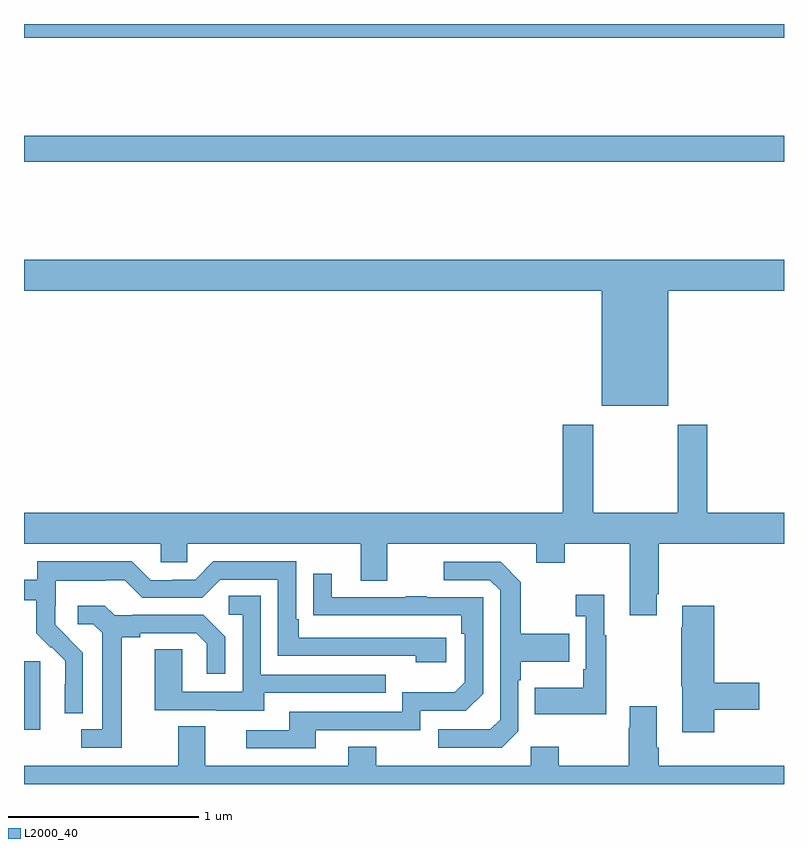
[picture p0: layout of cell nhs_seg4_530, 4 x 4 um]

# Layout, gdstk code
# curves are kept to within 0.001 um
import gdstk
lib = gdstk.Library(unit=1e-6, precision=1e-09)
def R(c, l, rs):  # rectangles x0, y0, x1, y1
    for r in rs: c.add(gdstk.rectangle(r[:2], r[2:], *l))
def P(c, l, *ps):  # polygons
    for p in ps: c.add(gdstk.Polygon(p, *l))
L2000_40 = (2000, 40)

nhs_seg4_530 = lib.new_cell('nhs_seg4_530')
R(nhs_seg4_530, L2000_40, [(137,785.186,137.086,785.547), (137,788.176,141,788.312), (137,788.828,141,788.9)])
P(nhs_seg4_530, L2000_40, [(140.392,787.496),(141,787.496),(141,787.66),(137,787.66),(137,787.496),(140.042,787.496),(140.042,786.89),(140.392,786.89)],
  [(139.845,786.164),(140.189,786.164),(140.189,785.787),(140.329,785.787),(140.329,785.899),(140.342,785.899),(140.342,786.164),(141,786.164),(141,786.328),(140.595,786.328),(140.595,786.79),(140.44,786.79),(140.44,786.328),(139.995,786.328),(139.995,786.79),(139.835,786.79),(139.835,786.328),(137,786.328),(137,786.164),(137.721,786.164),(137.721,786.066),(137.859,786.066),(137.859,786.164),(138.773,786.164),(138.773,785.97),(138.913,785.97),(138.913,786.164),(139.697,786.164),(139.697,786.065),(139.845,786.065)],
  [(137.31,785.59),(137.164,785.738),(137.164,785.835),(137.166,785.835),(137.166,785.969),(137.429,785.969),(137.429,785.973),(137.529,785.973),(137.622,785.88),(137.937,785.88),(138.033,785.976),(138.336,785.976),(138.336,785.574),(139.061,785.574),(139.061,785.54),(139.222,785.54),(139.222,785.67),(138.445,785.67),(138.445,785.767),(138.432,785.767),(138.432,786.072),(137.997,786.072),(137.901,785.976),(137.783,785.976),(137.783,785.973),(137.667,785.973),(137.567,786.073),(137.07,786.073),(137.07,785.976),(137,785.976),(137,785.868),(137.065,785.868),(137.065,785.693),(137.142,785.616),(137.145,785.619),(137.216,785.549),(137.216,785.426),(137.214,785.426),(137.214,785.272),(137.31,785.272)],
  [(139.602,785.178),(139.602,785.447),(139.615,785.447),(139.615,785.543),(139.871,785.543),(139.871,785.691),(139.615,785.691),(139.615,785.963),(139.509,786.069),(139.209,786.069),(139.209,785.973),(139.452,785.973),(139.506,785.919),(139.506,785.238),(139.455,785.187),(139.179,785.187),(139.179,785.091),(139.515,785.091)],
  [(138.535,785.184),(139.086,785.184),(139.086,785.286),(139.326,785.286),(139.416,785.376),(139.416,785.883),(139.121,785.883),(139.121,785.888),(139.009,785.888),(139.009,785.883),(138.619,785.883),(138.619,786.007),(138.523,786.007),(138.523,785.788),(139.3,785.787),(139.3,785.69),(139.32,785.69),(139.32,785.436),(139.267,785.383),(138.99,785.383),(138.99,785.28),(138.395,785.28),(138.395,785.184),(138.171,785.184),(138.171,785.088),(138.535,785.088)],
  [(140.065,785.683),(140.053,785.683),(140.053,785.896),(139.905,785.896),(139.905,785.783),(139.956,785.783),(139.956,785.503),(139.944,785.503),(139.944,785.407),(139.687,785.407),(139.687,785.267),(140.065,785.267)],
  [(138.265,785.379),(138.905,785.379),(138.905,785.475),(138.246,785.475),(138.246,785.891),(138.078,785.891),(138.078,785.79),(138.15,785.79),(138.15,785.385),(137.832,785.385),(137.832,785.609),(137.687,785.609),(137.687,785.289),(138.011,785.289),(138.011,785.285),(138.265,785.285)],
  [(137.515,785.672),(137.611,785.672),(137.611,785.694),(137.906,785.694),(137.963,785.637),(137.963,785.481),(138.06,785.481),(138.06,785.674),(137.944,785.79),(137.572,785.79),(137.572,785.787),(137.478,785.787),(137.426,785.839),(137.283,785.839),(137.283,785.742),(137.364,785.742),(137.411,785.695),(137.411,785.187),(137.301,785.187),(137.301,785.091),(137.515,785.091)],
  [(140.633,785.29),(140.869,785.29),(140.869,785.432),(140.633,785.432),(140.633,785.839),(140.465,785.839),(140.465,785.726),(140.458,785.726),(140.458,785.415),(140.465,785.415),(140.465,785.172),(140.633,785.172)],
  [(141,784.996),(140.342,784.996),(140.342,785.092),(140.329,785.092),(140.329,785.308),(140.189,785.308),(140.189,785.195),(140.182,785.195),(140.182,784.996),(139.815,784.996),(139.815,785.095),(139.668,785.095),(139.668,784.996),(138.855,784.996),(138.855,785.095),(138.707,785.095),(138.707,784.996),(137.953,784.996),(137.953,785.204),(137.813,785.204),(137.813,784.996),(137,784.996),(137,784.9),(141,784.9)])

lib.write_gds('nhs_seg4_530.gds')
